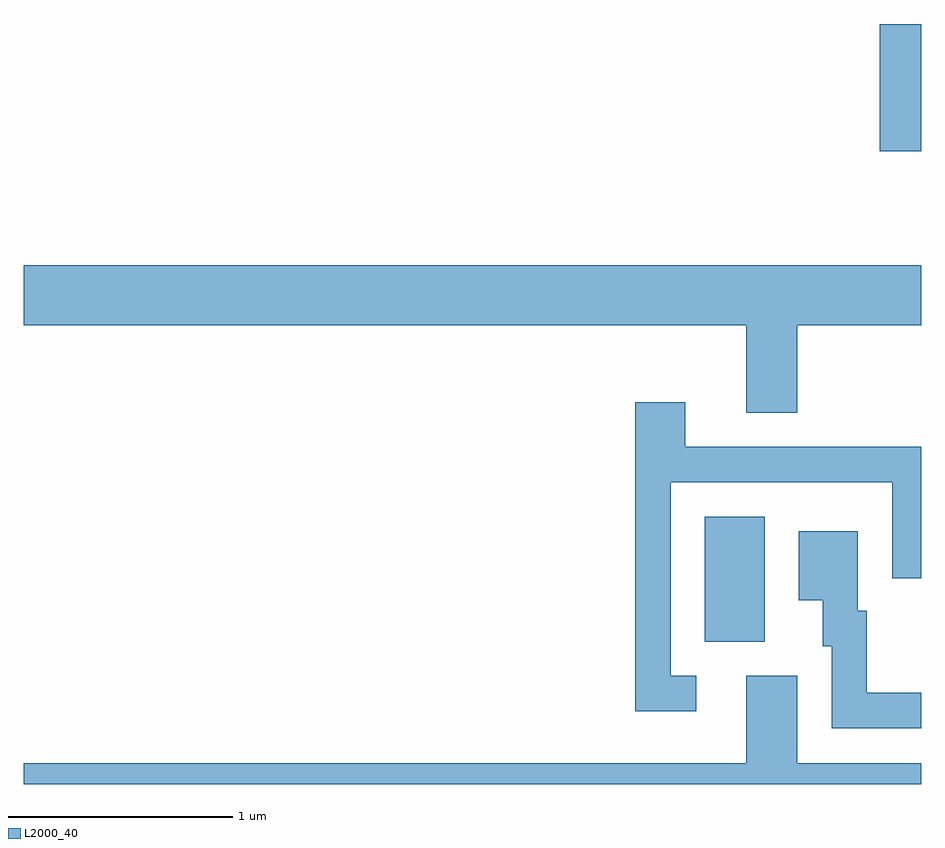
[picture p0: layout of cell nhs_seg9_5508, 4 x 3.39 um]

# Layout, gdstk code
import gdstk
lib = gdstk.Library(unit=1e-6, precision=1e-09)
def R(c, l, rs):  # rectangles x0, y0, x1, y1
    for r in rs: c.add(gdstk.rectangle(r[:2], r[2:], *l))
def P(c, l, *ps):  # polygons
    for p in ps: c.add(gdstk.Polygon(p, *l))
L2000_40 = (2000, 40)

nhs_seg9_5508 = lib.new_cell('nhs_seg9_5508')
R(nhs_seg9_5508, L2000_40, [(350.646,1997.066,350.914,1997.624), (351.426,1999.251,351.611,1999.819)])
P(nhs_seg9_5508, L2000_40, [(351.059,1998.476),(351.611,1998.476),(351.611,1998.744),(347.611,1998.744),(347.611,1998.476),(350.831,1998.476),(350.831,1998.086),(351.059,1998.086)],
  [(350.608,1996.914),(350.494,1996.914),(350.494,1997.776),(351.481,1997.776),(351.481,1997.348),(351.611,1997.348),(351.611,1997.934),(350.559,1997.934),(350.559,1998.134),(350.336,1998.134),(350.336,1996.756),(350.608,1996.756)],
  [(351.611,1996.839),(351.369,1996.839),(351.369,1997.204),(351.329,1997.204),(351.329,1997.559),(351.066,1997.559),(351.066,1997.251),(351.171,1997.251),(351.171,1997.046),(351.211,1997.046),(351.211,1996.681),(351.611,1996.681)],
  [(351.611,1996.524),(351.059,1996.524),(351.059,1996.914),(350.831,1996.914),(350.831,1996.524),(347.611,1996.524),(347.611,1996.432),(351.611,1996.432)])

lib.write_gds('nhs_seg9_5508.gds')
